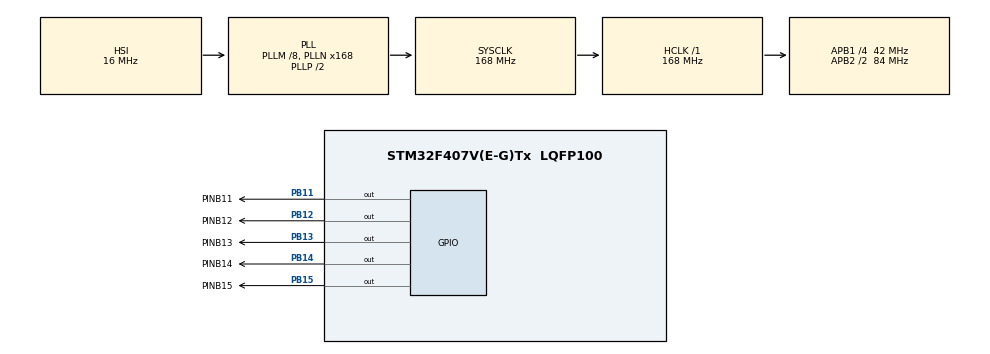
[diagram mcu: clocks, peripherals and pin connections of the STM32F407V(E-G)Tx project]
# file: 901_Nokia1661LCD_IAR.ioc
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Mcu.Family=STM32F4
Mcu.Name=STM32F407V(E-G)Tx
Mcu.Package=LQFP100
NVIC.PriorityGroup=NVIC_PRIORITYGROUP_4
PB11.GPIO_Label=PINB11
PB11.Signal=GPIO_Output
PB12.GPIO_Label=PINB12
PB12.Signal=GPIO_Output
PB13.GPIO_Label=PINB13
PB13.Signal=GPIO_Output
PB14.GPIO_Label=PINB14
PB14.Signal=GPIO_Output
PB15.GPIO_Label=PINB15
PB15.Signal=GPIO_Output
ProjectManager.HeapSize=0x200
ProjectManager.StackSize=0x400
ProjectManager.TargetToolchain=EWARM V8.50
RCC.48MHZClocksFreq_Value=84000000
RCC.AHBFreq_Value=168000000
RCC.APB1CLKDivider=RCC_HCLK_DIV4
RCC.APB1Freq_Value=42000000
RCC.APB1TimFreq_Value=84000000
RCC.APB2CLKDivider=RCC_HCLK_DIV2
RCC.APB2Freq_Value=84000000
RCC.APB2TimFreq_Value=168000000
RCC.CortexFreq_Value=168000000
RCC.HCLKFreq_Value=168000000
RCC.HSE_VALUE=25000000
RCC.HSI_VALUE=16000000
RCC.LSE_VALUE=32768
RCC.PLLM=8
RCC.PLLN=168
RCC.SYSCLKFreq_VALUE=168000000
RCC.SYSCLKSource=RCC_SYSCLKSOURCE_PLLCLK
RCC.VCOOutputFreq_Value=336000000
board=custom

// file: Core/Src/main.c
/* USER CODE BEGIN Header */
/**
  ******************************************************************************
  * @file           : main.c
  * @brief          : Main program body
  ******************************************************************************
  * @attention
  *
  * Copyright (c) 2026 STMicroelectronics.
  * All rights reserved.
  *
  * This software is licensed under terms that can be found in the LICENSE file
  * in the root directory of this software component.
  * If no LICENSE file comes with this software, it is provided AS-IS.
  *
  ******************************************************************************
  */
/* USER CODE END Header */
#include "main.h"
#include "gpio.h"

/* USER CODE BEGIN Includes */
#include <stdio.h>
#include <stdlib.h>
#include <nokia1661_lcd_driver.h>
#include <lcd_font5x7.h>

/* USER CODE END Includes */

/* USER CODE BEGIN PV */
float test = 0.32;

/* USER CODE END PV */

void SystemClock_Config(void);

int main(void)
{

  /* MCU Configuration--------------------------------------------------------*/

  /* Reset of all peripherals, Initializes the Flash interface and the Systick. */
  HAL_Init();

  /* Configure the system clock */
  SystemClock_Config();

  /* Initialize all configured peripherals */
  MX_GPIO_Init();

  /* Infinite loop */
  /* USER CODE BEGIN WHILE */

  HAL_GPIO_WritePin(PINB11_GPIO_Port, PINB11_Pin, GPIO_PIN_SET);
  nlcdInit();
  nlcdSetBackgroundColor(LCD_VGA_BLACK);
  nlcdSetFont(font5x7latcyr);
  nlcdClear();
  nlcdSetOrientation(LCD_ORIENTATION_180);

  char str[sizeof(test)+1];
  sprintf(str, "%.2f", test);

  while (1)
  {
    nlcdStringXY(0, 0, LCD_VGA_BLUE, str);
    HAL_Delay(2500);
    nlcdStringXYP(0, 1, LCD_VGA_BLUE, PSTR("AHMED"));
    /* USER CODE END WHILE */

  }
}

void SystemClock_Config(void)
{
  RCC_OscInitTypeDef RCC_OscInitStruct = {0};
  RCC_ClkInitTypeDef RCC_ClkInitStruct = {0};

  /** Configure the main internal regulator output voltage
  */
  __HAL_RCC_PWR_CLK_ENABLE();
  __HAL_PWR_VOLTAGESCALING_CONFIG(PWR_REGULATOR_VOLTAGE_SCALE1);

  /** Initializes the RCC Oscillators according to the specified parameters
  * in the RCC_OscInitTypeDef structure.
  */
  RCC_OscInitStruct.OscillatorType = RCC_OSCILLATORTYPE_HSI;
  RCC_OscInitStruct.HSIState = RCC_HSI_ON;
  RCC_OscInitStruct.HSICalibrationValue = RCC_HSICALIBRATION_DEFAULT;
  RCC_OscInitStruct.PLL.PLLState = RCC_PLL_ON;
  RCC_OscInitStruct.PLL.PLLSource = RCC_PLLSOURCE_HSI;
  RCC_OscInitStruct.PLL.PLLM = 8;
  RCC_OscInitStruct.PLL.PLLN = 168;
  RCC_OscInitStruct.PLL.PLLP = RCC_PLLP_DIV2;
  RCC_OscInitStruct.PLL.PLLQ = 4;
  if (HAL_RCC_OscConfig(&RCC_OscInitStruct) != HAL_OK)
  {
    Error_Handler();
  }

  /** Initializes the CPU, AHB and APB buses clocks
  */
  RCC_ClkInitStruct.ClockType = RCC_CLOCKTYPE_HCLK|RCC_CLOCKTYPE_SYSCLK
                              |RCC_CLOCKTYPE_PCLK1|RCC_CLOCKTYPE_PCLK2;
  RCC_ClkInitStruct.SYSCLKSource = RCC_SYSCLKSOURCE_PLLCLK;
  RCC_ClkInitStruct.AHBCLKDivider = RCC_SYSCLK_DIV1;
  RCC_ClkInitStruct.APB1CLKDivider = RCC_HCLK_DIV4;
  RCC_ClkInitStruct.APB2CLKDivider = RCC_HCLK_DIV2;

  if (HAL_RCC_ClockConfig(&RCC_ClkInitStruct, FLASH_LATENCY_5) != HAL_OK)
  {
    Error_Handler();
  }
}

void Error_Handler(void)
{
  __disable_irq();
  while (1)
  {
  }
}
